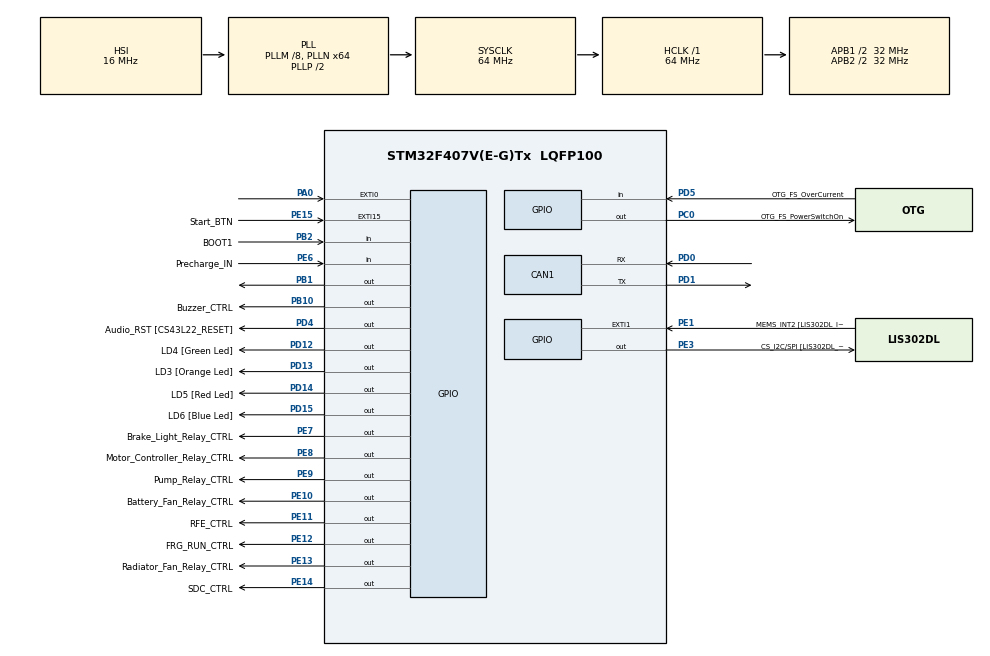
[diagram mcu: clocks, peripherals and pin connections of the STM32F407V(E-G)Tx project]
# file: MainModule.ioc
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CAN1.ABOM=ENABLE
CAN1.BS1=CAN_BS1_2TQ
CAN1.BS2=CAN_BS2_1TQ
CAN1.CalculateTimeBit=2000
CAN1.CalculateTimeQuantum=500.0
CAN1.SJW=CAN_SJW_2TQ
FREERTOS.Tasks01=defaultTask,0,128,StartDefaultTask,Default
Mcu.Family=STM32F4
Mcu.Name=STM32F407V(E-G)Tx
Mcu.Package=LQFP100
NVIC.CAN1_RX0_IRQn=true\:5\:0\:false\:false\:true\:true
NVIC.CAN1_RX1_IRQn=true\:5\:0\:false\:false\:true\:true
NVIC.CAN1_TX_IRQn=true\:5\:0\:false\:false\:true\:true
NVIC.EXTI0_IRQn=true\:5\:0\:false\:false\:true\:true
NVIC.EXTI15_10_IRQn=true\:5\:0\:false\:false\:true\:true
NVIC.PriorityGroup=NVIC_PRIORITYGROUP_4
NVIC.TIM1_UP_TIM10_IRQn=true\:5\:0\:false\:false\:true\:true
NVIC.TimeBase=TIM1_UP_TIM10_IRQn
NVIC.TimeBaseIP=TIM1
PA0-WKUP.GPIO_PuPd=GPIO_PULLDOWN
PA0-WKUP.Signal=GPXTI0
PA1.GPIO_Label=Throttle_1
PA1.Signal=ADCx_IN1
PA10.GPIO_Label=OTG_FS_ID
PA10.GPIO_Mode=GPIO_MODE_AF_PP
PA10.GPIO_PuPd=GPIO_NOPULL
PA10.GPIO_Speed=GPIO_SPEED_FREQ_LOW
PA10.Signal=USB_OTG_FS_ID
PA11.GPIO_Label=OTG_FS_DM
PA11.GPIO_Mode=GPIO_MODE_AF_PP
PA11.GPIO_PuPd=GPIO_NOPULL
PA11.GPIO_Speed=GPIO_SPEED_FREQ_LOW
PA11.Signal=USB_OTG_FS_DM
PA12.GPIO_Label=OTG_FS_DP
PA12.GPIO_Mode=GPIO_MODE_AF_PP
PA12.GPIO_PuPd=GPIO_NOPULL
PA12.GPIO_Speed=GPIO_SPEED_FREQ_LOW
PA12.Signal=USB_OTG_FS_DP
PA13.GPIO_Label=SWDIO
PA13.Mode=Serial_Wire
PA13.Signal=SYS_JTMS-SWDIO
PA14.GPIO_Label=SWCLK
PA14.Mode=Serial_Wire
PA14.Signal=SYS_JTCK-SWCLK
PA2.GPIO_Label=Throttle_2
PA2.Signal=ADCx_IN2
PA4.GPIO_Label=I2S3_WS [CS43L22_LRCK]
PA4.GPIO_Mode=GPIO_MODE_AF_PP
PA4.GPIO_PuPd=GPIO_NOPULL
PA4.GPIO_Speed=GPIO_SPEED_FREQ_LOW
PA4.Signal=I2S3_WS
PA5.GPIO_Label=SPI1_SCK [LIS302DL_SCL/SPC]
PA5.GPIO_Mode=GPIO_MODE_AF_PP
PA5.GPIO_PuPd=GPIO_NOPULL
PA5.GPIO_Speed=GPIO_SPEED_FREQ_LOW
PA5.Signal=SPI1_SCK
PA6.GPIO_Label=SPI1_MISO [LIS302DL_SDO]
PA6.GPIO_Mode=GPIO_MODE_AF_PP
PA6.GPIO_PuPd=GPIO_NOPULL
PA6.GPIO_Speed=GPIO_SPEED_FREQ_LOW
PA6.Signal=SPI1_MISO
PA7.GPIO_Label=SPI1_MOSI [LIS302DL_SDA/SDI/SDO]
PA7.GPIO_Mode=GPIO_MODE_AF_PP
PA7.GPIO_PuPd=GPIO_NOPULL
PA7.GPIO_Speed=GPIO_SPEED_FREQ_LOW
PA7.Signal=SPI1_MOSI
PA9.GPIO_Label=VBUS_FS
PA9.GPIO_Mode=GPIO_MODE_INPUT
PA9.GPIO_PuPd=GPIO_NOPULL
PA9.Signal=USB_OTG_FS_VBUS
PB1.Signal=GPIO_Output
PB10.GPIO_Label=Buzzer_CTRL
PB10.Signal=GPIO_Output
PB2.GPIO_Label=BOOT1
PB2.GPIO_Mode=GPIO_MODE_INPUT
PB2.GPIO_PuPd=GPIO_NOPULL
PB2.Signal=GPIO_Input
PB3.GPIO_Label=SWO
PB3.Signal=SYS_JTDO-SWO
PB6.GPIO_Label=Audio_SCL [CS43L22_SCL]
PB6.GPIO_Mode=GPIO_MODE_AF_OD
PB6.GPIO_PuPd=GPIO_NOPULL
PB6.GPIO_Speed=GPIO_SPEED_FREQ_LOW
PB6.Signal=I2C1_SCL
PB9.GPIO_Label=Audio_SDA [CS43L22_SDA]
PB9.GPIO_Mode=GPIO_MODE_AF_OD
PB9.GPIO_PuPd=GPIO_NOPULL
PB9.GPIO_Speed=GPIO_SPEED_FREQ_LOW
PB9.Signal=I2C1_SDA
PC0.GPIO_Label=OTG_FS_PowerSwitchOn
PC0.GPIO_PuPd=GPIO_NOPULL
PC0.GPIO_Speed=GPIO_SPEED_FREQ_LOW
PC0.PinState=GPIO_PIN_SET
PC0.Signal=GPIO_Output
PC1.GPIO_Label=Brake_1
PC1.Signal=ADCx_IN11
PC10.GPIO_Label=I2S3_SCK [CS43L22_SCLK]
PC10.GPIO_Mode=GPIO_MODE_AF_PP
PC10.GPIO_PuPd=GPIO_NOPULL
PC10.GPIO_Speed=GPIO_SPEED_FREQ_LOW
PC10.Signal=I2S3_CK
PC12.GPIO_Label=I2S3_SD [CS43L22_SDIN]
PC12.GPIO_Mode=GPIO_MODE_AF_PP
PC12.GPIO_PuPd=GPIO_NOPULL
PC12.GPIO_Speed=GPIO_SPEED_FREQ_LOW
PC12.Signal=I2S3_SD
PC14-OSC32_IN.GPIO_Label=PC14-OSC32_IN
PC14-OSC32_IN.Signal=RCC_OSC32_IN
PC15-OSC32_OUT.GPIO_Label=PC15-OSC32_OUT
PC15-OSC32_OUT.Signal=RCC_OSC32_OUT
PC2.GPIO_Label=Brake_2
PC2.Signal=ADCx_IN12
PC3.GPIO_Label=PDM_OUT [MP45DT02_DOUT]
PC3.GPIO_Mode=GPIO_MODE_AF_PP
PC3.GPIO_PuPd=GPIO_NOPULL
PC3.GPIO_Speed=GPIO_SPEED_FREQ_LOW
PC3.Signal=I2S2_SD
PC7.GPIO_Label=I2S3_MCK [CS43L22_MCLK]
PC7.GPIO_Mode=GPIO_MODE_AF_PP
PC7.GPIO_PuPd=GPIO_NOPULL
PC7.GPIO_Speed=GPIO_SPEED_FREQ_LOW
PC7.Signal=I2S3_MCK
PD0.Mode=Master
PD0.Signal=CAN1_RX
PD1.Mode=Master
PD1.Signal=CAN1_TX
PD12.GPIO_Label=LD4 [Green Led]
PD12.GPIO_PuPd=GPIO_NOPULL
PD12.GPIO_Speed=GPIO_SPEED_FREQ_LOW
PD12.Signal=GPIO_Output
PD13.GPIO_Label=LD3 [Orange Led]
PD13.GPIO_PuPd=GPIO_NOPULL
PD13.GPIO_Speed=GPIO_SPEED_FREQ_LOW
PD13.Signal=GPIO_Output
PD14.GPIO_Label=LD5 [Red Led]
PD14.GPIO_PuPd=GPIO_NOPULL
PD14.GPIO_Speed=GPIO_SPEED_FREQ_LOW
PD14.Signal=GPIO_Output
PD15.GPIO_Label=LD6 [Blue Led]
PD15.GPIO_PuPd=GPIO_NOPULL
PD15.GPIO_Speed=GPIO_SPEED_FREQ_LOW
PD15.Signal=GPIO_Output
PD4.GPIO_Label=Audio_RST [CS43L22_RESET]
PD4.GPIO_PuPd=GPIO_NOPULL
PD4.GPIO_Speed=GPIO_SPEED_FREQ_LOW
PD4.Signal=GPIO_Output
PD5.GPIO_Label=OTG_FS_OverCurrent
PD5.GPIO_Mode=GPIO_MODE_INPUT
PD5.GPIO_PuPd=GPIO_NOPULL
PD5.Signal=GPIO_Input
PE1.GPIO_Label=MEMS_INT2 [LIS302DL_INT2]
PE1.GPIO_ModeDefaultEXTI=GPIO_MODE_EVT_RISING
PE1.GPIO_PuPd=GPIO_NOPULL
PE1.Signal=GPXTI1
PE10.GPIO_Label=Battery_Fan_Relay_CTRL
PE10.Signal=GPIO_Output
PE11.GPIO_Label=RFE_CTRL
PE11.Signal=GPIO_Output
PE12.GPIO_Label=FRG_RUN_CTRL
PE12.Signal=GPIO_Output
PE13.GPIO_Label=Radiator_Fan_Relay_CTRL
PE13.Signal=GPIO_Output
PE14.GPIO_Label=SDC_CTRL
PE14.Signal=GPIO_Output
PE15.GPIO_Label=Start_BTN
PE15.Signal=GPXTI15
PE3.GPIO_Label=CS_I2C/SPI [LIS302DL_CS_I2C/SPI]
PE3.GPIO_PuPd=GPIO_NOPULL
PE3.GPIO_Speed=GPIO_SPEED_FREQ_LOW
PE3.Signal=GPIO_Output
PE6.GPIO_Label=Precharge_IN
PE6.Signal=GPIO_Input
PE7.GPIO_Label=Brake_Light_Relay_CTRL
PE7.Signal=GPIO_Output
PE8.GPIO_Label=Motor_Controller_Relay_CTRL
PE8.Signal=GPIO_Output
PE9.GPIO_Label=Pump_Relay_CTRL
PE9.Signal=GPIO_Output
PH0-OSC_IN.GPIO_Label=PH0-OSC_IN
PH0-OSC_IN.Signal=RCC_OSC_IN
PH1-OSC_OUT.GPIO_Label=PH1-OSC_OUT
PH1-OSC_OUT.Signal=RCC_OSC_OUT
ProjectManager.HeapSize=0x400
ProjectManager.StackSize=0x800
ProjectManager.TargetToolchain=SW4STM32
RCC.48MHZClocksFreq_Value=18285714.285714287
RCC.AHBFreq_Value=64000000
RCC.APB1CLKDivider=RCC_HCLK_DIV2
RCC.APB1Freq_Value=32000000
RCC.APB1TimFreq_Value=64000000
RCC.APB2CLKDivider=RCC_HCLK_DIV2
RCC.APB2Freq_Value=32000000
RCC.APB2TimFreq_Value=64000000
RCC.CortexFreq_Value=64000000
RCC.HCLKFreq_Value=64000000
RCC.HSE_VALUE=8000000
RCC.HSI_VALUE=16000000
RCC.LSE_VALUE=32768
RCC.PLLM=8
RCC.PLLN=64
RCC.PLLQ=7
RCC.SYSCLKFreq_VALUE=64000000
RCC.SYSCLKSource=RCC_SYSCLKSOURCE_PLLCLK
RCC.VCOOutputFreq_Value=128000000
SH.ADCx_IN1.0=ADC2_IN1
SH.ADCx_IN11.0=ADC1_IN11
SH.ADCx_IN12.0=ADC1_IN12
SH.ADCx_IN2.0=ADC2_IN2
VP_FREERTOS_VS_ENABLE.Mode=Enabled
VP_SYS_VS_tim1.Mode=TIM1
board=STM32F407G-DISC1

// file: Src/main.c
/**
  ******************************************************************************
  * File Name          : main.c
  * Description        : Main program body
  ******************************************************************************
  *
  * Copyright (c) 2017 STMicroelectronics International N.V.
  * All rights reserved.
  *
  * Redistribution and use in source and binary forms, with or without
  * modification, are permitted, provided that the following conditions are met:
  *
  * 1. Redistribution of source code must retain the above copyright notice,
  *    this list of conditions and the following disclaimer.
  * 2. Redistributions in binary form must reproduce the above copyright notice,
  *    this list of conditions and the following disclaimer in the documentation
  *    and/or other materials provided with the distribution.
  * 3. Neither the name of STMicroelectronics nor the names of other
  *    contributors to this software may be used to endorse or promote products
  *    derived from this software without specific written permission.
  * 4. This software, including modifications and/or derivative works of this
  *    software, must execute solely and exclusively on microcontroller or
  *    microprocessor devices manufactured by or for STMicroelectronics.
  * 5. Redistribution and use of this software other than as permitted under
  *    this license is void and will automatically terminate your rights under
  *    this license.
  *
  * THIS SOFTWARE IS PROVIDED BY STMICROELECTRONICS AND CONTRIBUTORS "AS IS"
  * AND ANY EXPRESS, IMPLIED OR STATUTORY WARRANTIES, INCLUDING, BUT NOT
  * LIMITED TO, THE IMPLIED WARRANTIES OF MERCHANTABILITY, FITNESS FOR A
  * PARTICULAR PURPOSE AND NON-INFRINGEMENT OF THIRD PARTY INTELLECTUAL PROPERTY
  * RIGHTS ARE DISCLAIMED TO THE FULLEST EXTENT PERMITTED BY LAW. IN NO EVENT
  * SHALL STMICROELECTRONICS OR CONTRIBUTORS BE LIABLE FOR ANY DIRECT, INDIRECT,
  * INCIDENTAL, SPECIAL, EXEMPLARY, OR CONSEQUENTIAL DAMAGES (INCLUDING, BUT NOT
  * LIMITED TO, PROCUREMENT OF SUBSTITUTE GOODS OR SERVICES; LOSS OF USE, DATA,
  * OR PROFITS; OR BUSINESS INTERRUPTION) HOWEVER CAUSED AND ON ANY THEORY OF
  * LIABILITY, WHETHER IN CONTRACT, STRICT LIABILITY, OR TORT (INCLUDING
  * NEGLIGENCE OR OTHERWISE) ARISING IN ANY WAY OUT OF THE USE OF THIS SOFTWARE,
  * EVEN IF ADVISED OF THE POSSIBILITY OF SUCH DAMAGE.
  *
  ******************************************************************************
  */
#include "main.h"
#include "stm32f4xx_hal.h"
#include "cmsis_os.h"

/* USER CODE BEGIN Includes */
#include "main_module_tasks.h"
#include "car.h"
#include "BMS.h"
#include "WheelModule.h"
#include "PedalBox.h"
#include "CANProcess.h"
/* USER CODE END Includes */

CAN_HandleTypeDef hcan1;

osThreadId defaultTaskHandle;

/* USER CODE BEGIN PV */
/* Private variables ---------------------------------------------------------*/
QueueHandle_t q_txcan;
SemaphoreHandle_t m_CAN;
Car_t car;
BMS_t BMS;
WheelModule_t wheelModule;
/* USER CODE END PV */

void SystemClock_Config(void);
void Error_Handler(void);
static void MX_GPIO_Init(void);
static void MX_CAN1_Init(void);
void StartDefaultTask(void const * argument);

/* USER CODE BEGIN PFP */
/* Private function prototypes -----------------------------------------------*/

/* USER CODE END PFP */

/* USER CODE BEGIN 0 */
__attribute__((__section__(".user_data"))) const uint8_t* variable;
//RTOS_CAN_t rtos_can1;

/* USER CODE END 0 */

int main(void)
{

  /* MCU Configuration----------------------------------------------------------*/

  /* Reset of all peripherals, Initializes the Flash interface and the Systick. */
  HAL_Init();

  /* Configure the system clock */
  SystemClock_Config();

  /* Initialize all configured peripherals */
  MX_GPIO_Init();
  MX_CAN1_Init();

  /* USER CODE BEGIN 2 */
  //START HERE///////////////////////////////////////////////////////////////
  carInit();
  CANFilterConfig();
  initRTOSObjects();

  //TaskHandle_t taskhandle;
  //xTaskCreate(taskBlink, "blink", 128, NULL, 5, &taskhandle);
  /* USER CODE END 2 */

  /* Create the thread(s) */
  /* definition and creation of defaultTask */
  osThreadDef(defaultTask, StartDefaultTask, osPriorityNormal, 0, 128);
  defaultTaskHandle = osThreadCreate(osThread(defaultTask), NULL);

  /* Start scheduler */
  osKernelStart();

  /* We should never get here as control is now taken by the scheduler */

  /* Infinite loop */
  while (1)
  {

  }

}

/** System Clock Configuration
*/
void SystemClock_Config(void)
{

  RCC_OscInitTypeDef RCC_OscInitStruct;
  RCC_ClkInitTypeDef RCC_ClkInitStruct;

    /**Configure the main internal regulator output voltage
    */
  __HAL_RCC_PWR_CLK_ENABLE();

  __HAL_PWR_VOLTAGESCALING_CONFIG(PWR_REGULATOR_VOLTAGE_SCALE1);

    /**Initializes the CPU, AHB and APB busses clocks
    */
  RCC_OscInitStruct.OscillatorType = RCC_OSCILLATORTYPE_HSI;
  RCC_OscInitStruct.HSIState = RCC_HSI_ON;
  RCC_OscInitStruct.HSICalibrationValue = 16;
  RCC_OscInitStruct.PLL.PLLState = RCC_PLL_ON;
  RCC_OscInitStruct.PLL.PLLSource = RCC_PLLSOURCE_HSI;
  RCC_OscInitStruct.PLL.PLLM = 8;
  RCC_OscInitStruct.PLL.PLLN = 64;
  RCC_OscInitStruct.PLL.PLLP = RCC_PLLP_DIV2;
  RCC_OscInitStruct.PLL.PLLQ = 7;
  if (HAL_RCC_OscConfig(&RCC_OscInitStruct) != HAL_OK)
  {
    Error_Handler();
  }

    /**Initializes the CPU, AHB and APB busses clocks
    */
  RCC_ClkInitStruct.ClockType = RCC_CLOCKTYPE_HCLK|RCC_CLOCKTYPE_SYSCLK
                              |RCC_CLOCKTYPE_PCLK1|RCC_CLOCKTYPE_PCLK2;
  RCC_ClkInitStruct.SYSCLKSource = RCC_SYSCLKSOURCE_PLLCLK;
  RCC_ClkInitStruct.AHBCLKDivider = RCC_SYSCLK_DIV1;
  RCC_ClkInitStruct.APB1CLKDivider = RCC_HCLK_DIV2;
  RCC_ClkInitStruct.APB2CLKDivider = RCC_HCLK_DIV2;

  if (HAL_RCC_ClockConfig(&RCC_ClkInitStruct, FLASH_LATENCY_2) != HAL_OK)
  {
    Error_Handler();
  }

    /**Configure the Systick interrupt time
    */
  HAL_SYSTICK_Config(HAL_RCC_GetHCLKFreq()/1000);

    /**Configure the Systick
    */
  HAL_SYSTICK_CLKSourceConfig(SYSTICK_CLKSOURCE_HCLK);

  /* SysTick_IRQn interrupt configuration */
  HAL_NVIC_SetPriority(SysTick_IRQn, 15, 0);
}

/* CAN1 init function */
static void MX_CAN1_Init(void)
{

  hcan1.Instance = CAN1;
  hcan1.Init.Prescaler = 16;
  hcan1.Init.Mode = CAN_MODE_NORMAL;
  hcan1.Init.SJW = CAN_SJW_2TQ;
  hcan1.Init.BS1 = CAN_BS1_2TQ;
  hcan1.Init.BS2 = CAN_BS2_1TQ;
  hcan1.Init.TTCM = DISABLE;
  hcan1.Init.ABOM = ENABLE;
  hcan1.Init.AWUM = DISABLE;
  hcan1.Init.NART = DISABLE;
  hcan1.Init.RFLM = DISABLE;
  hcan1.Init.TXFP = DISABLE;
  if (HAL_CAN_Init(&hcan1) != HAL_OK)
  {
    Error_Handler();
  }

}

/** Configure pins as
        * Analog
        * Input
        * Output
        * EVENT_OUT
        * EXTI
     PC1   ------> ADCx_IN11
     PC2   ------> ADCx_IN12
     PC3   ------> I2S2_SD
     PA1   ------> ADCx_IN1
     PA2   ------> ADCx_IN2
     PA4   ------> I2S3_WS
     PA5   ------> SPI1_SCK
     PA6   ------> SPI1_MISO
     PA7   ------> SPI1_MOSI
     PC7   ------> I2S3_MCK
     PA9   ------> USB_OTG_FS_VBUS
     PA10   ------> USB_OTG_FS_ID
     PA11   ------> USB_OTG_FS_DM
     PA12   ------> USB_OTG_FS_DP
     PC10   ------> I2S3_CK
     PC12   ------> I2S3_SD
     PB6   ------> I2C1_SCL
     PB9   ------> I2C1_SDA
*/
static void MX_GPIO_Init(void)
{

  GPIO_InitTypeDef GPIO_InitStruct;

  /* GPIO Ports Clock Enable */
  __HAL_RCC_GPIOE_CLK_ENABLE();
  __HAL_RCC_GPIOC_CLK_ENABLE();
  __HAL_RCC_GPIOH_CLK_ENABLE();
  __HAL_RCC_GPIOA_CLK_ENABLE();
  __HAL_RCC_GPIOB_CLK_ENABLE();
  __HAL_RCC_GPIOD_CLK_ENABLE();

  /*Configure GPIO pin Output Level */
  HAL_GPIO_WritePin(GPIOE, CS_I2C_SPI_Pin|Brake_Light_Relay_CTRL_Pin|Motor_Controller_Relay_CTRL_Pin|Pump_Relay_CTRL_Pin
                          |Battery_Fan_Relay_CTRL_Pin|RFE_CTRL_Pin|FRG_RUN_CTRL_Pin|Radiator_Fan_Relay_CTRL_Pin
                          |SDC_CTRL_Pin, GPIO_PIN_RESET);

  /*Configure GPIO pin Output Level */
  HAL_GPIO_WritePin(OTG_FS_PowerSwitchOn_GPIO_Port, OTG_FS_PowerSwitchOn_Pin, GPIO_PIN_SET);

  /*Configure GPIO pin Output Level */
  HAL_GPIO_WritePin(GPIOB, GPIO_PIN_1|Buzzer_CTRL_Pin, GPIO_PIN_RESET);

  /*Configure GPIO pin Output Level */
  HAL_GPIO_WritePin(GPIOD, LD4_Pin|LD3_Pin|LD5_Pin|LD6_Pin
                          |Audio_RST_Pin, GPIO_PIN_RESET);

  /*Configure GPIO pins : CS_I2C_SPI_Pin Brake_Light_Relay_CTRL_Pin Motor_Controller_Relay_CTRL_Pin Pump_Relay_CTRL_Pin
                           Battery_Fan_Relay_CTRL_Pin RFE_CTRL_Pin FRG_RUN_CTRL_Pin Radiator_Fan_Relay_CTRL_Pin
                           SDC_CTRL_Pin */
  GPIO_InitStruct.Pin = CS_I2C_SPI_Pin|Brake_Light_Relay_CTRL_Pin|Motor_Controller_Relay_CTRL_Pin|Pump_Relay_CTRL_Pin
                          |Battery_Fan_Relay_CTRL_Pin|RFE_CTRL_Pin|FRG_RUN_CTRL_Pin|Radiator_Fan_Relay_CTRL_Pin
                          |SDC_CTRL_Pin;
  GPIO_InitStruct.Mode = GPIO_MODE_OUTPUT_PP;
  GPIO_InitStruct.Pull = GPIO_NOPULL;
  GPIO_InitStruct.Speed = GPIO_SPEED_FREQ_LOW;
  HAL_GPIO_Init(GPIOE, &GPIO_InitStruct);

  /*Configure GPIO pin : Precharge_IN_Pin */
  GPIO_InitStruct.Pin = Precharge_IN_Pin;
  GPIO_InitStruct.Mode = GPIO_MODE_INPUT;
  GPIO_InitStruct.Pull = GPIO_NOPULL;
  HAL_GPIO_Init(Precharge_IN_GPIO_Port, &GPIO_InitStruct);

  /*Configure GPIO pin : OTG_FS_PowerSwitchOn_Pin */
  GPIO_InitStruct.Pin = OTG_FS_PowerSwitchOn_Pin;
  GPIO_InitStruct.Mode = GPIO_MODE_OUTPUT_PP;
  GPIO_InitStruct.Pull = GPIO_NOPULL;
  GPIO_InitStruct.Speed = GPIO_SPEED_FREQ_LOW;
  HAL_GPIO_Init(OTG_FS_PowerSwitchOn_GPIO_Port, &GPIO_InitStruct);

  /*Configure GPIO pins : Brake_1_Pin Brake_2_Pin */
  GPIO_InitStruct.Pin = Brake_1_Pin|Brake_2_Pin;
  GPIO_InitStruct.Mode = GPIO_MODE_ANALOG;
  GPIO_InitStruct.Pull = GPIO_NOPULL;
  HAL_GPIO_Init(GPIOC, &GPIO_InitStruct);

  /*Configure GPIO pin : PDM_OUT_Pin */
  GPIO_InitStruct.Pin = PDM_OUT_Pin;
  GPIO_InitStruct.Mode = GPIO_MODE_AF_PP;
  GPIO_InitStruct.Pull = GPIO_NOPULL;
  GPIO_InitStruct.Speed = GPIO_SPEED_FREQ_LOW;
  GPIO_InitStruct.Alternate = GPIO_AF5_SPI2;
  HAL_GPIO_Init(PDM_OUT_GPIO_Port, &GPIO_InitStruct);

  /*Configure GPIO pin : PA0 */
  GPIO_InitStruct.Pin = GPIO_PIN_0;
  GPIO_InitStruct.Mode = GPIO_MODE_IT_RISING;
  GPIO_InitStruct.Pull = GPIO_PULLDOWN;
  HAL_GPIO_Init(GPIOA, &GPIO_InitStruct);

  /*Configure GPIO pins : Throttle_1_Pin Throttle_2_Pin */
  GPIO_InitStruct.Pin = Throttle_1_Pin|Throttle_2_Pin;
  GPIO_InitStruct.Mode = GPIO_MODE_ANALOG;
  GPIO_InitStruct.Pull = GPIO_NOPULL;
  HAL_GPIO_Init(GPIOA, &GPIO_InitStruct);

  /*Configure GPIO pin : I2S3_WS_Pin */
  GPIO_InitStruct.Pin = I2S3_WS_Pin;
  GPIO_InitStruct.Mode = GPIO_MODE_AF_PP;
  GPIO_InitStruct.Pull = GPIO_NOPULL;
  GPIO_InitStruct.Speed = GPIO_SPEED_FREQ_LOW;
  GPIO_InitStruct.Alternate = GPIO_AF6_SPI3;
  HAL_GPIO_Init(I2S3_WS_GPIO_Port, &GPIO_InitStruct);

  /*Configure GPIO pins : SPI1_SCK_Pin SPI1_MISO_Pin SPI1_MOSI_Pin */
  GPIO_InitStruct.Pin = SPI1_SCK_Pin|SPI1_MISO_Pin|SPI1_MOSI_Pin;
  GPIO_InitStruct.Mode = GPIO_MODE_AF_PP;
  GPIO_InitStruct.Pull = GPIO_NOPULL;
  GPIO_InitStruct.Speed = GPIO_SPEED_FREQ_LOW;
  GPIO_InitStruct.Alternate = GPIO_AF5_SPI1;
  HAL_GPIO_Init(GPIOA, &GPIO_InitStruct);

  /*Configure GPIO pins : PB1 Buzzer_CTRL_Pin */
  GPIO_InitStruct.Pin = GPIO_PIN_1|Buzzer_CTRL_Pin;
  GPIO_InitStruct.Mode = GPIO_MODE_OUTPUT_PP;
  GPIO_InitStruct.Pull = GPIO_NOPULL;
  GPIO_InitStruct.Speed = GPIO_SPEED_FREQ_LOW;
  HAL_GPIO_Init(GPIOB, &GPIO_InitStruct);

  /*Configure GPIO pin : BOOT1_Pin */
  GPIO_InitStruct.Pin = BOOT1_Pin;
  GPIO_InitStruct.Mode = GPIO_MODE_INPUT;
  GPIO_InitStruct.Pull = GPIO_NOPULL;
  HAL_GPIO_Init(BOOT1_GPIO_Port, &GPIO_InitStruct);

  /*Configure GPIO pin : Start_BTN_Pin */
  GPIO_InitStruct.Pin = Start_BTN_Pin;
  GPIO_InitStruct.Mode = GPIO_MODE_IT_RISING;
  GPIO_InitStruct.Pull = GPIO_NOPULL;
  HAL_GPIO_Init(Start_BTN_GPIO_Port, &GPIO_InitStruct);

  /*Configure GPIO pins : LD4_Pin LD3_Pin LD5_Pin LD6_Pin
                           Audio_RST_Pin */
  GPIO_InitStruct.Pin = LD4_Pin|LD3_Pin|LD5_Pin|LD6_Pin
                          |Audio_RST_Pin;
  GPIO_InitStruct.Mode = GPIO_MODE_OUTPUT_PP;
  GPIO_InitStruct.Pull = GPIO_NOPULL;
  GPIO_InitStruct.Speed = GPIO_SPEED_FREQ_LOW;
  HAL_GPIO_Init(GPIOD, &GPIO_InitStruct);

  /*Configure GPIO pins : I2S3_MCK_Pin I2S3_SCK_Pin I2S3_SD_Pin */
  GPIO_InitStruct.Pin = I2S3_MCK_Pin|I2S3_SCK_Pin|I2S3_SD_Pin;
  GPIO_InitStruct.Mode = GPIO_MODE_AF_PP;
  GPIO_InitStruct.Pull = GPIO_NOPULL;
  GPIO_InitStruct.Speed = GPIO_SPEED_FREQ_LOW;
  GPIO_InitStruct.Alternate = GPIO_AF6_SPI3;
  HAL_GPIO_Init(GPIOC, &GPIO_InitStruct);

  /*Configure GPIO pin : VBUS_FS_Pin */
  GPIO_InitStruct.Pin = VBUS_FS_Pin;
  GPIO_InitStruct.Mode = GPIO_MODE_INPUT;
  GPIO_InitStruct.Pull = GPIO_NOPULL;
  HAL_GPIO_Init(VBUS_FS_GPIO_Port, &GPIO_InitStruct);

  /*Configure GPIO pins : OTG_FS_ID_Pin OTG_FS_DM_Pin OTG_FS_DP_Pin */
  GPIO_InitStruct.Pin = OTG_FS_ID_Pin|OTG_FS_DM_Pin|OTG_FS_DP_Pin;
  GPIO_InitStruct.Mode = GPIO_MODE_AF_PP;
  GPIO_InitStruct.Pull = GPIO_NOPULL;
  GPIO_InitStruct.Speed = GPIO_SPEED_FREQ_LOW;
  GPIO_InitStruct.Alternate = GPIO_AF10_OTG_FS;
  HAL_GPIO_Init(GPIOA, &GPIO_InitStruct);

  /*Configure GPIO pin : OTG_FS_OverCurrent_Pin */
  GPIO_InitStruct.Pin = OTG_FS_OverCurrent_Pin;
  GPIO_InitStruct.Mode = GPIO_MODE_INPUT;
  GPIO_InitStruct.Pull = GPIO_NOPULL;
  HAL_GPIO_Init(OTG_FS_OverCurrent_GPIO_Port, &GPIO_InitStruct);

  /*Configure GPIO pins : Audio_SCL_Pin Audio_SDA_Pin */
  GPIO_InitStruct.Pin = Audio_SCL_Pin|Audio_SDA_Pin;
  GPIO_InitStruct.Mode = GPIO_MODE_AF_OD;
  GPIO_InitStruct.Pull = GPIO_PULLUP;
  GPIO_InitStruct.Speed = GPIO_SPEED_FREQ_LOW;
  GPIO_InitStruct.Alternate = GPIO_AF4_I2C1;
  HAL_GPIO_Init(GPIOB, &GPIO_InitStruct);

  /*Configure GPIO pin : MEMS_INT2_Pin */
  GPIO_InitStruct.Pin = MEMS_INT2_Pin;
  GPIO_InitStruct.Mode = GPIO_MODE_EVT_RISING;
  GPIO_InitStruct.Pull = GPIO_NOPULL;
  HAL_GPIO_Init(MEMS_INT2_GPIO_Port, &GPIO_InitStruct);

  /* EXTI interrupt init*/
  HAL_NVIC_SetPriority(EXTI0_IRQn, 5, 0);
  HAL_NVIC_EnableIRQ(EXTI0_IRQn);

  HAL_NVIC_SetPriority(EXTI15_10_IRQn, 5, 0);
  HAL_NVIC_EnableIRQ(EXTI15_10_IRQn);

}

/* StartDefaultTask function */
void StartDefaultTask(void const * argument)
{

  for(;;)
  {
    osDelay(1);
  }
}

void HAL_TIM_PeriodElapsedCallback(TIM_HandleTypeDef *htim)
{
  if (htim->Instance == TIM1) {
    HAL_IncTick();
  }
}

void Error_Handler(void)
{
  while(1)
  {
  }
}

/************************ (C) COPYRIGHT STMicroelectronics *****END OF FILE****/
